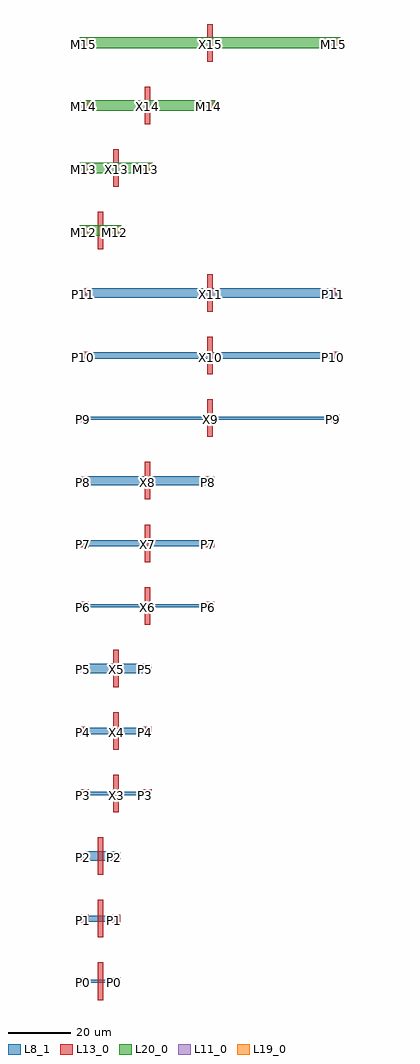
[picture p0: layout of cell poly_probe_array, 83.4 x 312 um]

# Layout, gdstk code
import gdstk
lib = gdstk.Library(unit=1e-6, precision=1e-09)
def R(c, l, rs):  # rectangles x0, y0, x1, y1
    for r in rs: c.add(gdstk.rectangle(r[:2], r[2:], *l))
def A(c, l, x, y, w, h, nx, ny, dx, dy):  # array of equal rectangles
    R(c, l, [(x+i*dx, y+j*dy, x+i*dx+w, y+j*dy+h) for i in range(nx) for j in range(ny)])
L8_1 = (8, 1)
L11_0 = (11, 0)
L13_0 = (13, 0)
L19_0 = (19, 0)
L20_0 = (20, 0)

poly_probe_array = lib.new_cell('poly_probe_array')
A(poly_probe_array, L8_1, 18.7, 18.7, 2.6, 2.6, 1, 12, 0, 20)
A(poly_probe_array, L8_1, 28.7, 18.7, 2.6, 2.6, 1, 3, 0, 20)
A(poly_probe_array, L8_1, 38.7, 78.7, 2.6, 2.6, 1, 3, 0, 20)
A(poly_probe_array, L8_1, 58.7, 138.7, 2.6, 2.6, 1, 3, 0, 20)
A(poly_probe_array, L8_1, 98.7, 198.7, 2.6, 2.6, 1, 3, 0, 20)
R(poly_probe_array, L8_1, [(20,19.5,30,20.5), (20,39,30,41), (20,58.5,30,61.5), (20,79.5,40,80.5), (20,99,40,101), (20,118.5,40,121.5), (20,139.5,60,140.5), (20,159,60,161), (20,178.5,60,181.5), (20,199.5,100,200.5), (20,219,100,221), (20,238.5,100,241.5)])
A(poly_probe_array, L11_0, 19.5, 19.5, 1, 1, 1, 12, 0, 20)
A(poly_probe_array, L11_0, 29.5, 19.5, 1, 1, 1, 3, 0, 20)
A(poly_probe_array, L11_0, 39.5, 79.5, 1, 1, 1, 3, 0, 20)
A(poly_probe_array, L11_0, 59.5, 139.5, 1, 1, 1, 3, 0, 20)
A(poly_probe_array, L11_0, 99.5, 199.5, 1, 1, 1, 3, 0, 20)
A(poly_probe_array, L13_0, 24.1, 14, 1.8, 12, 1, 3, 0, 20)
A(poly_probe_array, L13_0, 18.7, 18.7, 2.6, 2.6, 1, 12, 0, 20)
A(poly_probe_array, L13_0, 28.7, 18.7, 2.6, 2.6, 1, 3, 0, 20)
A(poly_probe_array, L13_0, 29.1, 74, 1.8, 12, 1, 3, 0, 20)
A(poly_probe_array, L13_0, 38.7, 78.7, 2.6, 2.6, 1, 3, 0, 20)
A(poly_probe_array, L13_0, 39.1, 134, 1.8, 12, 1, 3, 0, 20)
A(poly_probe_array, L13_0, 58.7, 138.7, 2.6, 2.6, 1, 3, 0, 20)
A(poly_probe_array, L13_0, 59.1, 194, 1.8, 12, 1, 3, 0, 20)
A(poly_probe_array, L13_0, 98.7, 198.7, 2.6, 2.6, 1, 3, 0, 20)
A(poly_probe_array, L13_0, 18.3, 258.3, 3.4, 3.4, 1, 4, 0, 20)
R(poly_probe_array, L13_0, [(24.1,254,25.9,266), (28.3,258.3,31.7,261.7), (29.1,274,30.9,286), (38.3,278.3,41.7,281.7), (39.1,294,40.9,306), (58.3,298.3,61.7,301.7), (59.1,314,60.9,326), (98.3,318.3,101.7,321.7)])
A(poly_probe_array, L19_0, 19.3, 259.3, 1.4, 1.4, 1, 4, 0, 20)
R(poly_probe_array, L19_0, [(29.3,259.3,30.7,260.7), (39.3,279.3,40.7,280.7), (59.3,299.3,60.7,300.7), (99.3,319.3,100.7,320.7)])
R(poly_probe_array, L20_0, [(18.3,258.3,31.7,261.7), (18.3,278.3,41.7,281.7), (18.3,298.3,61.7,301.7), (18.3,318.3,101.7,321.7)])
poly_probe_array.add(gdstk.Label('P0', (19.5,19.5), layer=48, texttype=0))
poly_probe_array.add(gdstk.Label('P0', (29.5,19.5), layer=48, texttype=0))
poly_probe_array.add(gdstk.Label('X0', (25,19.5), layer=48, texttype=0))
poly_probe_array.add(gdstk.Label('P1', (19.5,39.5), layer=48, texttype=0))
poly_probe_array.add(gdstk.Label('P1', (29.5,39.5), layer=48, texttype=0))
poly_probe_array.add(gdstk.Label('X1', (25,39.5), layer=48, texttype=0))
poly_probe_array.add(gdstk.Label('P2', (19.5,59.5), layer=48, texttype=0))
poly_probe_array.add(gdstk.Label('P2', (29.5,59.5), layer=48, texttype=0))
poly_probe_array.add(gdstk.Label('X2', (25,59.5), layer=48, texttype=0))
poly_probe_array.add(gdstk.Label('P3', (19.5,79.5), layer=48, texttype=0))
poly_probe_array.add(gdstk.Label('P3', (39.5,79.5), layer=48, texttype=0))
poly_probe_array.add(gdstk.Label('X3', (30,79.5), layer=48, texttype=0))
poly_probe_array.add(gdstk.Label('P4', (19.5,99.5), layer=48, texttype=0))
poly_probe_array.add(gdstk.Label('P4', (39.5,99.5), layer=48, texttype=0))
poly_probe_array.add(gdstk.Label('X4', (30,99.5), layer=48, texttype=0))
poly_probe_array.add(gdstk.Label('P5', (19.5,119.5), layer=48, texttype=0))
poly_probe_array.add(gdstk.Label('P5', (39.5,119.5), layer=48, texttype=0))
poly_probe_array.add(gdstk.Label('X5', (30,119.5), layer=48, texttype=0))
poly_probe_array.add(gdstk.Label('P6', (19.5,139.5), layer=48, texttype=0))
poly_probe_array.add(gdstk.Label('P6', (59.5,139.5), layer=48, texttype=0))
poly_probe_array.add(gdstk.Label('X6', (40,139.5), layer=48, texttype=0))
poly_probe_array.add(gdstk.Label('P7', (19.5,159.5), layer=48, texttype=0))
poly_probe_array.add(gdstk.Label('P7', (59.5,159.5), layer=48, texttype=0))
poly_probe_array.add(gdstk.Label('X7', (40,159.5), layer=48, texttype=0))
poly_probe_array.add(gdstk.Label('P8', (19.5,179.5), layer=48, texttype=0))
poly_probe_array.add(gdstk.Label('P8', (59.5,179.5), layer=48, texttype=0))
poly_probe_array.add(gdstk.Label('X8', (40,179.5), layer=48, texttype=0))
poly_probe_array.add(gdstk.Label('P9', (19.5,199.5), layer=48, texttype=0))
poly_probe_array.add(gdstk.Label('P9', (99.5,199.5), layer=48, texttype=0))
poly_probe_array.add(gdstk.Label('X9', (60,199.5), layer=48, texttype=0))
poly_probe_array.add(gdstk.Label('P10', (19.5,219.5), layer=48, texttype=0))
poly_probe_array.add(gdstk.Label('P10', (99.5,219.5), layer=48, texttype=0))
poly_probe_array.add(gdstk.Label('X10', (60,219.5), layer=48, texttype=0))
poly_probe_array.add(gdstk.Label('P11', (19.5,239.5), layer=48, texttype=0))
poly_probe_array.add(gdstk.Label('P11', (99.5,239.5), layer=48, texttype=0))
poly_probe_array.add(gdstk.Label('X11', (60,239.5), layer=48, texttype=0))
poly_probe_array.add(gdstk.Label('M12', (19.5,259.5), layer=48, texttype=0))
poly_probe_array.add(gdstk.Label('M12', (29.5,259.5), layer=48, texttype=0))
poly_probe_array.add(gdstk.Label('X12', (25,259.5), layer=48, texttype=0))
poly_probe_array.add(gdstk.Label('M13', (19.5,279.5), layer=48, texttype=0))
poly_probe_array.add(gdstk.Label('M13', (39.5,279.5), layer=48, texttype=0))
poly_probe_array.add(gdstk.Label('X13', (30,279.5), layer=48, texttype=0))
poly_probe_array.add(gdstk.Label('M14', (19.5,299.5), layer=48, texttype=0))
poly_probe_array.add(gdstk.Label('M14', (59.5,299.5), layer=48, texttype=0))
poly_probe_array.add(gdstk.Label('X14', (40,299.5), layer=48, texttype=0))
poly_probe_array.add(gdstk.Label('M15', (19.5,319.5), layer=48, texttype=0))
poly_probe_array.add(gdstk.Label('M15', (99.5,319.5), layer=48, texttype=0))
poly_probe_array.add(gdstk.Label('X15', (60,319.5), layer=48, texttype=0))

lib.write_gds('poly_probe_array.gds')
